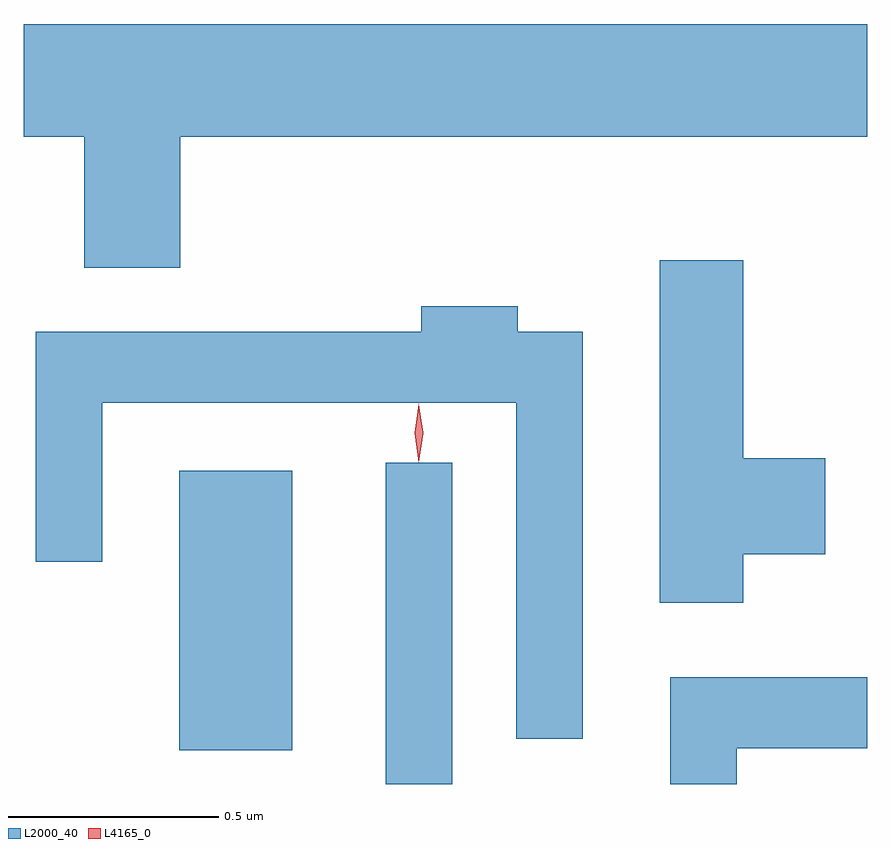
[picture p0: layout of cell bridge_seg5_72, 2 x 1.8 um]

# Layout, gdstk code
import gdstk
lib = gdstk.Library(unit=1e-6, precision=1e-09)
def R(c, l, rs):  # rectangles x0, y0, x1, y1
    for r in rs: c.add(gdstk.rectangle(r[:2], r[2:], *l))
def P(c, l, *ps):  # polygons
    for p in ps: c.add(gdstk.Polygon(p, *l))
L2000_40 = (2000, 40)
L4165_0 = (4165, 0)

bridge_seg5_72 = lib.new_cell('bridge_seg5_72')
R(bridge_seg5_72, L2000_40, [(1302.446,1475.241,1302.604,1476.003), (1301.956,1475.321,1302.224,1475.984)])
P(bridge_seg5_72, L2000_40, [(1301.959,1476.776),(1303.588,1476.776),(1303.588,1477.044),(1301.588,1477.044),(1301.588,1476.776),(1301.731,1476.776),(1301.731,1476.466),(1301.959,1476.466)],
  [(1303.294,1475.786),(1303.489,1475.786),(1303.489,1476.014),(1303.294,1476.014),(1303.294,1476.484),(1303.096,1476.484),(1303.096,1475.671),(1303.294,1475.671)],
  [(1302.914,1476.314),(1302.759,1476.314),(1302.759,1476.374),(1302.531,1476.374),(1302.531,1476.314),(1301.616,1476.314),(1301.616,1475.768),(1301.774,1475.768),(1301.774,1476.146),(1302.756,1476.146),(1302.756,1475.348),(1302.914,1475.348)],
  [(1303.279,1475.326),(1303.588,1475.326),(1303.588,1475.494),(1303.121,1475.494),(1303.121,1475.241),(1303.279,1475.241)])
P(bridge_seg5_72, L4165_0, [(1302.524,1476.007),(1302.515,1476.074),(1302.524,1476.14),(1302.525,1476.141),(1302.525,1476.14),(1302.535,1476.074),(1302.525,1476.007),(1302.525,1476.007)],
  [(1302.524,1476.004),(1302.515,1476.073),(1302.524,1476.142),(1302.525,1476.143),(1302.525,1476.142),(1302.535,1476.073),(1302.525,1476.004),(1302.525,1476.004)])

lib.write_gds('bridge_seg5_72.gds')
